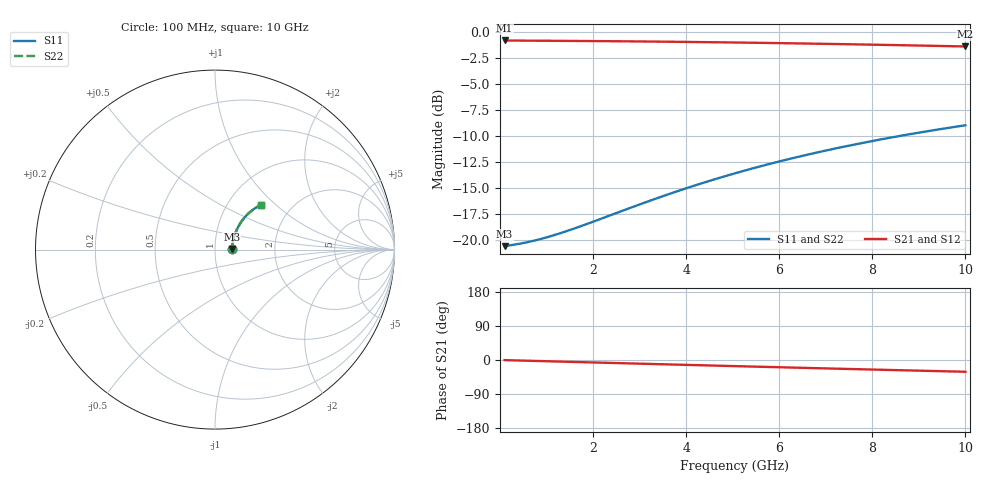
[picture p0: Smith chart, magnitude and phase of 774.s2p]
# Hz S RI R 50.00
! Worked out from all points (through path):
!   100 points, 100 MHz to 10 GHz, reference 50 ohm
!   highest |S21| = -0.85 dB at 100 MHz (marker M1); lowest = -1.4 dB at 10 GHz (marker M2)
!   group delay of S21, straight-line fit = 8.64 ps
!   lowest |S11| = -20.6 dB at 100 MHz (marker M3), VSWR 1.21, Z = 60.3 + j0.397 ohm
!   |S11| at or under -10 dB: start of sweep to 8.599 GHz
!   |S22| runs from -20.6 to -9.0 dB; largest |S21 - S12| = 0
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1e8  0.0936 0.00326  0.9064 -0.00514  0.9064 -0.00514  0.0936 0.00326
5e8  0.0956 0.0162  0.9043 -0.0256  0.9043 -0.0256  0.0956 0.0162
7e8  0.0965 0.0227  0.9034 -0.0358  0.9034 -0.0358  0.0965 0.0227
9e8  0.0975 0.0291  0.9023 -0.046  0.9023 -0.046  0.0975 0.0291
1.1e9  0.0985 0.0355  0.9012 -0.0562  0.9012 -0.0562  0.0985 0.0355
1.3e9  0.0997 0.0419  0.9 -0.0663  0.9 -0.0663  0.0997 0.0419
1.8e9  0.1031 0.0576  0.8962 -0.0914  0.8962 -0.0914  0.1031 0.0576
2.6e9  0.1102 0.0823  0.8885 -0.1312  0.8885 -0.1312  0.1102 0.0823
3.4e9  0.1193 0.1062  0.8785 -0.17  0.8785 -0.17  0.1193 0.1062
3.9e9  0.126 0.1205  0.8711 -0.1938  0.8711 -0.1938  0.126 0.1205
4.3e9  0.1319 0.1317  0.8646 -0.2125  0.8646 -0.2125  0.1319 0.1317
4.7e9  0.1382 0.1425  0.8576 -0.2309  0.8576 -0.2309  0.1382 0.1425
5.1e9  0.145 0.153  0.8501 -0.2489  0.8501 -0.2489  0.145 0.153
5.5e9  0.1522 0.1631  0.8422 -0.2666  0.8422 -0.2666  0.1522 0.1631
5.9e9  0.1597 0.1729  0.8337 -0.2839  0.8337 -0.2839  0.1597 0.1729
6.3e9  0.1677 0.1823  0.8249 -0.3009  0.8249 -0.3009  0.1677 0.1823
6.7e9  0.176 0.1912  0.8156 -0.3174  0.8156 -0.3174  0.176 0.1912
7.5e9  0.1935 0.2078  0.7959 -0.3492  0.7959 -0.3492  0.1935 0.2078
7.9e9  0.2027 0.2155  0.7856 -0.3645  0.7856 -0.3645  0.2027 0.2155
8.4e9  0.2145 0.2245  0.7722 -0.383  0.7722 -0.383  0.2145 0.2245
9.2e9  0.2341 0.2373  0.7499 -0.4111  0.7499 -0.4111  0.2341 0.2373
1e10  0.2544 0.2483  0.7267 -0.4374  0.7267 -0.4374  0.2544 0.2483
